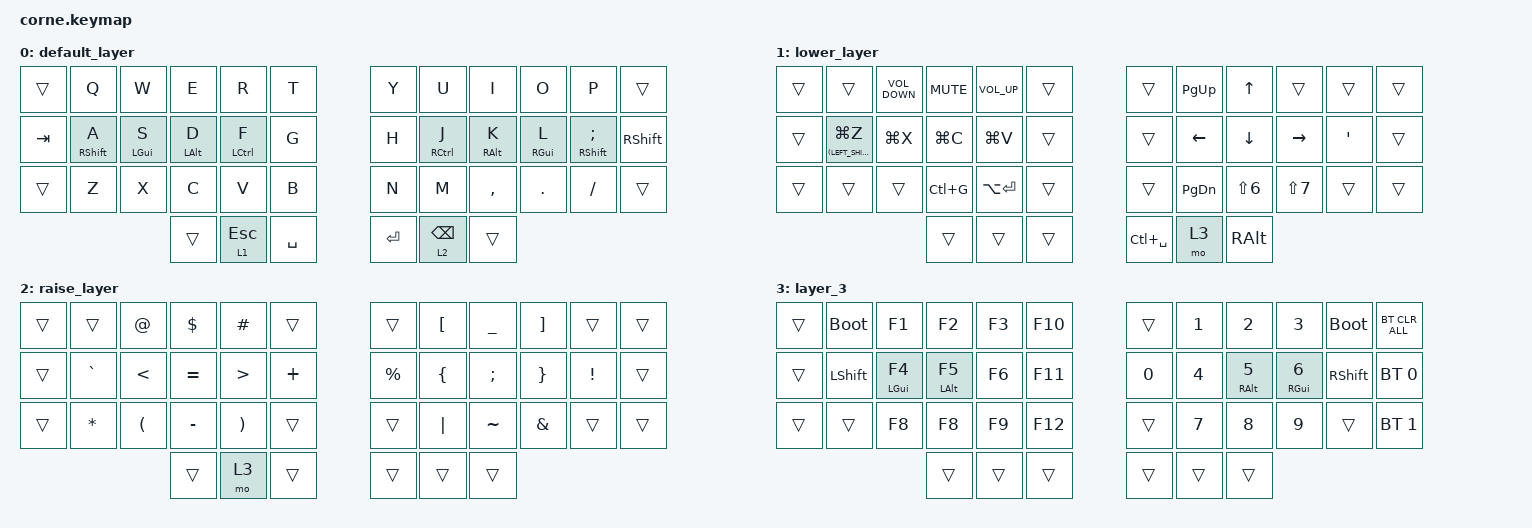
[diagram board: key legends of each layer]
/*
 * Copyright (c) 2020 The ZMK Contributors
 *
 * SPDX-License-Identifier: MIT
 */

#include <behaviors.dtsi>
#include <dt-bindings/zmk/bt.h>
#include <dt-bindings/zmk/keys.h>

&lt {
    flavor = "tap-unless-interrupted";
    tapping-term-ms = <300>;
};

/ {
    combos {
        compatible = "zmk,combos";

        combo_esc {
            timeout-ms = <50>;
            key-positions = <0 1>;
            bindings = <&kp ESC>;
        };
    };

    behaviors {
        ss_hs_modmorph: ss_hs_modmorph {
            compatible = "zmk,behavior-mod-morph";
            label = "SS_HS_MODMORPH";
            bindings = <&kp M>, <&kp RIGHT_BRACKET>;

            #binding-cells = <0>;
            mods = <(MOD_LSFT|MOD_RSFT)>;
        };

        kh_hs_tapdance: kh_hs_tapdance {
            compatible = "zmk,behavior-tap-dance";
            label = "KH_HS_TAPDANCE";
            #binding-cells = <0>;
            tapping-term-ms = <200>;
            bindings = <&kp LEFT_BRACKET>, <&kp RIGHT_BRACKET>;
        };

        hrm: hrm {
            compatible = "zmk,behavior-hold-tap";
            #binding-cells = <2>;
            flavor = "tap-preferred";
            tapping-term-ms = <200>;
            quick-tap-ms = <200>;
            require-prior-idle-ms = <125>;
            bindings = <&kp>, <&kp>;
        };

        lrm: lrm {
            compatible = "zmk,behavior-hold-tap";
            bindings = <&mo>, <&kp>;

            #binding-cells = <2>;
            tapping-term-ms = <200>;
            quick-tap-ms = <200>;
            require-prior-idle-ms = <125>;
        };
    };

    macros {
        mcr_copy: mcr_copy {
            compatible = "zmk,behavior-macro";
            #binding-cells = <0>;
            bindings = <&none>;
            label = "MCR_COPY";
        };
    };

    keymap {
        compatible = "zmk,keymap";

        default_layer {
            // -----------------------------------------------------------------------------------------
            // |  TAB |  Q  |  W  |  E  |  R  |  T  |   |  Y  |  U   |  I  |  O  |  P  | BKSP |
            // | CTRL |  A  |  S  |  D  |  F  |  G  |   |  H  |  J   |  K  |  L  |  ;  |  '   |
            // | SHFT |  Z  |  X  |  C  |  V  |  B  |   |  N  |  M   |  ,  |  .  |  /  | ESC  |
            //                    | GUI | LWR | SPC |   | ENT | RSE  | ALT |

            bindings = <
&trans   &kp Q               &kp W        &kp E            &kp R         &kp T        &kp Y      &kp U            &kp I             &kp O        &kp P                  &trans
&kp TAB  &hrm RIGHT_SHIFT A  &hrm LGUI S  &hrm LEFT_ALT D  &hrm LCTRL F  &kp G        &kp H      &hrm RCTRL J     &hrm RIGHT_ALT K  &hrm RGUI L  &hrm RIGHT_SHIFT SEMI  &kp RIGHT_SHIFT
&trans   &kp Z               &kp X        &kp C            &kp V         &kp B        &kp N      &kp M            &kp COMMA         &kp DOT      &kp FSLH               &trans
                                          &trans           &lrm 1 ESC    &kp SPACE    &kp ENTER  &lt 2 BACKSPACE  &trans
            >;
        };

        lower_layer {
            // -----------------------------------------------------------------------------------------
            // |  TAB |  1  |  2  |  3  |  4  |  5  |   |  6  |  7  |  8  |  9  |  0  | BKSP |
            // | BTCLR| BT1 | BT2 | BT3 | BT4 | BT5 |   | LFT | DWN |  UP | RGT |     |      |
            // | SHFT |     |     |     |     |     |   |     |     |     |     |     |      |
            //                    | GUI |     | SPC |   | ENT |     | ALT |

            bindings = <
&trans  &trans                   &kp C_VOLUME_DOWN  &kp C_MUTE  &kp C_VOLUME_UP  &trans    &trans         &kp PAGE_UP     &kp UP_ARROW      &trans            &trans   &trans
&trans  &hrm (LEFT_SHIFT) LG(Z)  &kp LG(X)          &kp LG(C)   &kp LG(V)        &trans    &trans         &kp LEFT_ARROW  &kp DOWN_ARROW    &kp RIGHT_ARROW   &kp SQT  &trans
&trans  &trans                   &trans             &kp LC(G)   &kp LA(ENTER)    &trans    &trans         &kp PAGE_DOWN   &kp LS(NUMBER_6)  &kp LS(NUMBER_7)  &trans   &trans
                                                    &trans      &trans           &trans    &kp LC(SPACE)  &mo 3           &kp RIGHT_ALT
            >;
        };

        raise_layer {
            // -----------------------------------------------------------------------------------------
            // |  TAB |  !  |  @  |  #  |  $  |  %  |   |  ^  |  &  |  *  |  (  |  )  | BKSP |
            // | CTRL |     |     |     |     |     |   |  -  |  =  |  [  |  ]  |  \  |  `   |
            // | SHFT |     |     |     |     |     |   |  _  |  +  |  {  |  }  | "|" |  ~   |
            //                    | GUI |     | SPC |   | ENT |     | ALT |

            bindings = <
&trans  &trans     &kp AT                &kp DOLLAR  &kp HASH               &trans      &trans       &kp LEFT_BRACKET  &kp UNDER      &kp RIGHT_BRACKET  &trans           &trans
&trans  &kp GRAVE  &kp LESS_THAN         &kp EQUAL   &kp GREATER_THAN       &kp PLUS    &kp PERCENT  &kp LEFT_BRACE    &kp SEMICOLON  &kp RIGHT_BRACE    &kp EXCLAMATION  &trans
&trans  &kp ASTRK  &kp LEFT_PARENTHESIS  &kp MINUS   &kp RIGHT_PARENTHESIS  &trans      &trans       &kp PIPE          &kp TILDE      &kp AMPERSAND      &trans           &trans
                                         &trans      &mo 3                  &trans      &trans       &trans            &trans
            >;
        };

        layer_3 {
            bindings = <
&trans  &bootloader     &kp F1        &kp F2            &kp F3  &kp F10    &trans        &kp NUMBER_1  &kp NUMBER_2             &kp NUMBER_3             &bootloader      &bt BT_CLR_ALL
&trans  &kp LEFT_SHIFT  &hrm LGUI F4  &hrm LEFT_ALT F5  &kp F6  &kp F11    &kp NUMBER_0  &kp NUMBER_4  &hrm RIGHT_ALT NUMBER_5  &hrm RIGHT_GUI NUMBER_6  &kp RIGHT_SHIFT  &bt BT_SEL 0
&trans  &trans          &kp F8        &kp F8            &kp F9  &kp F12    &trans        &kp NUMBER_7  &kp NUMBER_8             &kp NUMBER_9             &trans           &bt BT_SEL 1
                                      &trans            &trans  &trans     &trans        &trans        &trans
            >;
        };
    };
};
